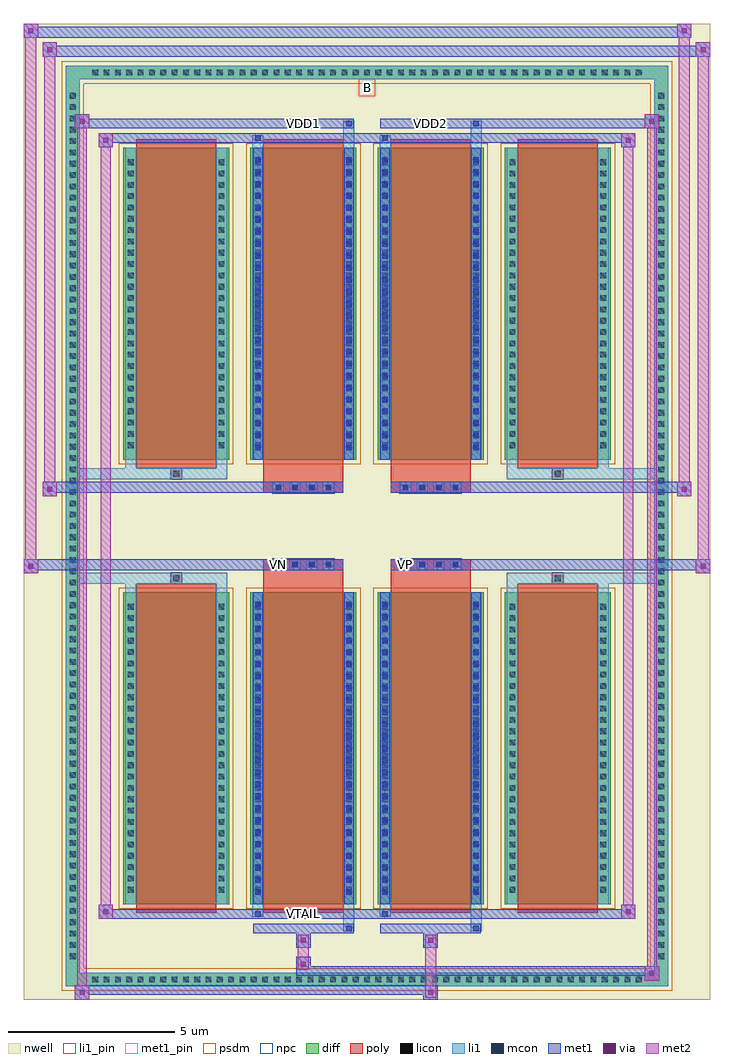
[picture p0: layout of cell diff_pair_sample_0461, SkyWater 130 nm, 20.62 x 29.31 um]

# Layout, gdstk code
import gdstk
lib = gdstk.Library(unit=1e-6, precision=5e-09)
def R(c, l, rs):  # rectangles x0, y0, x1, y1
    for r in rs: c.add(gdstk.rectangle(r[:2], r[2:], *l))
def A(c, l, x, y, w, h, nx, ny, dx, dy):  # array of equal rectangles
    R(c, l, [(x+i*dx, y+j*dy, x+i*dx+w, y+j*dy+h) for i in range(nx) for j in range(ny)])
def P(c, l, *ps):  # polygons
    for p in ps: c.add(gdstk.Polygon(p, *l))
nwell = (64, 20)
diff = (65, 20)
poly = (66, 20)
licon = (66, 44)
li1_pin = (67, 16)
li1 = (67, 20)
mcon = (67, 44)
met1_pin = (68, 16)
met1 = (68, 20)
via = (68, 44)
met2 = (69, 20)
psdm = (94, 20)
npc = (95, 20)

diff_pair_sample_0461 = lib.new_cell('diff_pair_sample_0461')
R(diff_pair_sample_0461, nwell, [(-10.31,-14.22,10.31,15.09), (-7.63,-12.41,-0.01,-0.795), (0.01,-12.41,7.63,-0.795), (-7.63,0.795,-0.01,12.41), (0.01,0.795,7.63,12.41)])
A(diff_pair_sample_0461, diff, -8.365, -13.82, 0.41, 0.41, 49, 2, 0.34, 27.23)
A(diff_pair_sample_0461, diff, -9.04, -13.125, 0.41, 0.41, 1, 77, 0, 0.34)
A(diff_pair_sample_0461, diff, 8.63, -13.125, 0.41, 0.41, 1, 77, 0, 0.34)
A(diff_pair_sample_0461, diff, -7.32, -11.365, 3.18, 9.38, 4, 2, 3.82, 13.35)
R(diff_pair_sample_0461, diff, [(-8.365,-13.82,8.365,-13.41), (-9.04,-13.125,-8.63,13.125), (8.63,-13.125,9.04,13.125), (-8.365,13.41,8.365,13.82)])
P(diff_pair_sample_0461, diff, [(9.04,13.82),(-9.04,13.82),(-9.04,-13.41),(-8.63,-13.41),(-8.63,13.41),(8.63,13.41),(8.63,-13.41),(-8.63,-13.41),(-9.04,-13.41),(-9.04,-13.82),(9.04,-13.82)])
A(diff_pair_sample_0461, poly, -6.93, -11.615, 2.4, 9.88, 4, 2, 3.82, 13.35)
A(diff_pair_sample_0461, poly, -2.825, -1.325, 0.33, 0.33, 4, 2, 0.5, 2.32)
A(diff_pair_sample_0461, poly, 0.995, -1.325, 0.33, 0.33, 4, 2, 0.5, 2.32)
R(diff_pair_sample_0461, poly, [(-5.895,-1.735,-5.565,-1.405), (-5.895,-1.735,-5.565,-1.405), (-3.11,-1.735,-0.71,-1.325), (0.71,-1.735,3.11,-1.325), (5.565,-1.735,5.895,-1.405), (5.565,-1.735,5.895,-1.405), (-3.11,-1.325,-0.71,-0.995), (0.71,-1.325,3.11,-0.995), (-3.11,0.995,-0.71,1.325), (0.71,0.995,3.11,1.325), (-3.11,1.325,-0.71,1.735), (0.71,1.325,3.11,1.735), (-5.895,1.405,-5.565,1.735), (-5.895,1.405,-5.565,1.735), (5.565,1.405,5.895,1.735), (5.565,1.405,5.895,1.735)])
A(diff_pair_sample_0461, licon, -8.245, -13.7, 0.17, 0.17, 49, 2, 0.34, 27.23)
A(diff_pair_sample_0461, licon, -8.92, -13.005, 0.17, 0.17, 1, 77, 0, 0.34)
A(diff_pair_sample_0461, licon, 8.75, -13.005, 0.17, 0.17, 1, 77, 0, 0.34)
A(diff_pair_sample_0461, licon, -7.18, -11.01, 0.17, 0.17, 1, 26, 0, 0.34)
A(diff_pair_sample_0461, licon, -4.45, -11.01, 0.17, 0.17, 1, 26, 0, 0.34)
A(diff_pair_sample_0461, licon, -3.36, -11.01, 0.17, 0.17, 1, 26, 0, 0.34)
A(diff_pair_sample_0461, licon, -0.63, -11.01, 0.17, 0.17, 1, 26, 0, 0.34)
A(diff_pair_sample_0461, licon, 0.46, -11.01, 0.17, 0.17, 1, 26, 0, 0.34)
A(diff_pair_sample_0461, licon, 3.19, -11.01, 0.17, 0.17, 1, 26, 0, 0.34)
A(diff_pair_sample_0461, licon, 4.28, -11.01, 0.17, 0.17, 1, 26, 0, 0.34)
A(diff_pair_sample_0461, licon, 7.01, -11.01, 0.17, 0.17, 1, 26, 0, 0.34)
A(diff_pair_sample_0461, licon, -2.745, -1.245, 0.17, 0.17, 4, 2, 0.5, 2.32)
A(diff_pair_sample_0461, licon, 1.075, -1.245, 0.17, 0.17, 4, 2, 0.5, 2.32)
A(diff_pair_sample_0461, licon, -7.18, 2.34, 0.17, 0.17, 1, 26, 0, 0.34)
A(diff_pair_sample_0461, licon, -4.45, 2.34, 0.17, 0.17, 1, 26, 0, 0.34)
A(diff_pair_sample_0461, licon, -3.36, 2.34, 0.17, 0.17, 1, 26, 0, 0.34)
A(diff_pair_sample_0461, licon, -0.63, 2.34, 0.17, 0.17, 1, 26, 0, 0.34)
A(diff_pair_sample_0461, licon, 0.46, 2.34, 0.17, 0.17, 1, 26, 0, 0.34)
A(diff_pair_sample_0461, licon, 3.19, 2.34, 0.17, 0.17, 1, 26, 0, 0.34)
A(diff_pair_sample_0461, licon, 4.28, 2.34, 0.17, 0.17, 1, 26, 0, 0.34)
A(diff_pair_sample_0461, licon, 7.01, 2.34, 0.17, 0.17, 1, 26, 0, 0.34)
R(diff_pair_sample_0461, licon, [(-5.815,-1.655,-5.645,-1.485), (5.645,-1.655,5.815,-1.485), (-5.815,1.485,-5.645,1.655), (5.645,1.485,5.815,1.655)])
R(diff_pair_sample_0461, li1_pin, [(-0.25,12.91,0.25,13.41)])
A(diff_pair_sample_0461, li1, -8.325, -13.78, 0.33, 0.33, 49, 2, 0.34, 27.23)
A(diff_pair_sample_0461, li1, -9, -13.085, 0.33, 0.33, 1, 77, 0, 0.34)
A(diff_pair_sample_0461, li1, 8.67, -13.085, 0.33, 0.33, 1, 77, 0, 0.34)
A(diff_pair_sample_0461, li1, -7.26, -11.09, 0.33, 0.33, 1, 26, 0, 0.34)
A(diff_pair_sample_0461, li1, -4.53, -11.09, 0.33, 0.33, 1, 26, 0, 0.34)
A(diff_pair_sample_0461, li1, -3.44, -11.09, 0.33, 0.33, 1, 26, 0, 0.34)
A(diff_pair_sample_0461, li1, -0.71, -11.09, 0.33, 0.33, 1, 26, 0, 0.34)
A(diff_pair_sample_0461, li1, 0.38, -11.09, 0.33, 0.33, 1, 26, 0, 0.34)
A(diff_pair_sample_0461, li1, 3.11, -11.09, 0.33, 0.33, 1, 26, 0, 0.34)
A(diff_pair_sample_0461, li1, 4.2, -11.09, 0.33, 0.33, 1, 26, 0, 0.34)
A(diff_pair_sample_0461, li1, 6.93, -11.09, 0.33, 0.33, 1, 26, 0, 0.34)
A(diff_pair_sample_0461, li1, -3.36, -11.08, 0.17, 0.17, 1, 25, 0, 0.36)
A(diff_pair_sample_0461, li1, -0.63, -11.08, 0.17, 0.17, 1, 25, 0, 0.36)
A(diff_pair_sample_0461, li1, 0.46, -11.08, 0.17, 0.17, 1, 25, 0, 0.36)
A(diff_pair_sample_0461, li1, 3.19, -11.08, 0.17, 0.17, 1, 25, 0, 0.36)
A(diff_pair_sample_0461, li1, -2.825, -1.325, 0.33, 0.33, 4, 2, 0.5, 2.32)
A(diff_pair_sample_0461, li1, 0.995, -1.325, 0.33, 0.33, 4, 2, 0.5, 2.32)
A(diff_pair_sample_0461, li1, -7.26, 2.26, 0.33, 0.33, 1, 26, 0, 0.34)
A(diff_pair_sample_0461, li1, -4.53, 2.26, 0.33, 0.33, 1, 26, 0, 0.34)
A(diff_pair_sample_0461, li1, -3.44, 2.26, 0.33, 0.33, 1, 26, 0, 0.34)
A(diff_pair_sample_0461, li1, -0.71, 2.26, 0.33, 0.33, 1, 26, 0, 0.34)
A(diff_pair_sample_0461, li1, 0.38, 2.26, 0.33, 0.33, 1, 26, 0, 0.34)
A(diff_pair_sample_0461, li1, 3.11, 2.26, 0.33, 0.33, 1, 26, 0, 0.34)
A(diff_pair_sample_0461, li1, 4.2, 2.26, 0.33, 0.33, 1, 26, 0, 0.34)
A(diff_pair_sample_0461, li1, 6.93, 2.26, 0.33, 0.33, 1, 26, 0, 0.34)
A(diff_pair_sample_0461, li1, -3.36, 2.27, 0.17, 0.17, 1, 25, 0, 0.36)
A(diff_pair_sample_0461, li1, -0.63, 2.27, 0.17, 0.17, 1, 25, 0, 0.36)
A(diff_pair_sample_0461, li1, 0.46, 2.27, 0.17, 0.17, 1, 25, 0, 0.36)
A(diff_pair_sample_0461, li1, 3.19, 2.27, 0.17, 0.17, 1, 25, 0, 0.36)
R(diff_pair_sample_0461, li1, [(-9.04,-13.82,-8.63,-13.41), (-9.04,-13.82,-8.63,-13.41), (-8.63,-13.82,8.63,-13.41), (8.63,-13.82,9.04,-13.41), (8.63,-13.82,9.04,-13.41), (-9.04,-13.41,-8.63,13.41), (8.63,-13.41,9.04,13.41), (-0.71,-12.17,-0.38,-11.365), (-0.63,-12.17,-0.46,-12), (3.11,-12.17,3.44,-11.365), (3.19,-12.17,3.36,-12), (-3.44,-11.74,-3.11,-11.365), (-3.36,-11.74,-3.19,-11.57), (0.38,-11.74,0.71,-11.365), (0.46,-11.74,0.63,-11.57), (-7.26,-11.365,-6.93,-1.985), (-4.53,-11.365,-4.2,-1.985), (-3.44,-11.365,-3.11,-1.985), (-0.71,-11.365,-0.38,-1.985), (0.38,-11.365,0.71,-1.985), (3.11,-11.365,3.44,-1.985), (4.2,-11.365,4.53,-1.985), (6.93,-11.365,7.26,-1.985), (-3.36,-11.08,-3.19,-2.27), (-0.63,-11.08,-0.46,-2.27), (0.46,-11.08,0.63,-2.27), (3.19,-11.08,3.36,-2.27), (-7.26,-1.985,-6.93,-1.405), (-4.53,-1.985,-4.2,-1.405), (4.2,-1.985,4.53,-1.405), (6.93,-1.985,7.26,-1.405), (-9.04,-1.735,-5.895,-1.405), (-7.26,-1.735,-5.895,-1.405), (-5.895,-1.735,-5.565,-1.405), (-5.565,-1.735,-4.2,-1.405), (4.2,-1.735,5.565,-1.405), (5.565,-1.735,5.895,-1.405), (5.565,-1.735,9.04,-1.405), (5.895,-1.735,7.26,-1.405), (-9.04,1.405,-5.895,1.735), (-7.26,1.405,-5.895,1.735), (-7.26,1.405,-6.93,1.985), (-5.895,1.405,-5.565,1.735), (-5.565,1.405,-4.2,1.735), (-4.53,1.405,-4.2,1.985), (4.2,1.405,5.565,1.735), (4.2,1.405,4.53,1.985), (5.565,1.405,5.895,1.735), (5.565,1.405,9.04,1.735), (5.895,1.405,7.26,1.735), (6.93,1.405,7.26,1.985), (-7.26,1.985,-6.93,11.365), (-4.53,1.985,-4.2,11.365), (-3.44,1.985,-3.11,11.365), (-0.71,1.985,-0.38,11.365), (0.38,1.985,0.71,11.365), (3.11,1.985,3.44,11.365), (4.2,1.985,4.53,11.365), (6.93,1.985,7.26,11.365), (-3.36,2.27,-3.19,11.08), (-0.63,2.27,-0.46,11.08), (0.46,2.27,0.63,11.08), (3.19,2.27,3.36,11.08), (-3.44,11.365,-3.11,11.74), (-0.71,11.365,-0.38,12.17), (0.38,11.365,0.71,11.74), (3.11,11.365,3.44,12.17), (-3.36,11.57,-3.19,11.74), (0.46,11.57,0.63,11.74), (-0.63,12,-0.46,12.17), (3.19,12,3.36,12.17), (-9.04,13.41,-8.63,13.82), (-9.04,13.41,-8.63,13.82), (-8.63,13.41,8.63,13.82), (8.63,13.41,9.04,13.82), (8.63,13.41,9.04,13.82)])
A(diff_pair_sample_0461, mcon, -3.36, -11.08, 0.17, 0.17, 1, 25, 0, 0.36)
A(diff_pair_sample_0461, mcon, -0.63, -11.08, 0.17, 0.17, 1, 25, 0, 0.36)
A(diff_pair_sample_0461, mcon, 0.46, -11.08, 0.17, 0.17, 1, 25, 0, 0.36)
A(diff_pair_sample_0461, mcon, 3.19, -11.08, 0.17, 0.17, 1, 25, 0, 0.36)
A(diff_pair_sample_0461, mcon, -2.745, -1.245, 0.17, 0.17, 4, 2, 0.5, 2.32)
A(diff_pair_sample_0461, mcon, 1.075, -1.245, 0.17, 0.17, 4, 2, 0.5, 2.32)
A(diff_pair_sample_0461, mcon, -3.36, 2.27, 0.17, 0.17, 1, 25, 0, 0.36)
A(diff_pair_sample_0461, mcon, -0.63, 2.27, 0.17, 0.17, 1, 25, 0, 0.36)
A(diff_pair_sample_0461, mcon, 0.46, 2.27, 0.17, 0.17, 1, 25, 0, 0.36)
A(diff_pair_sample_0461, mcon, 3.19, 2.27, 0.17, 0.17, 1, 25, 0, 0.36)
R(diff_pair_sample_0461, mcon, [(-0.63,-12.17,-0.46,-12), (3.19,-12.17,3.36,-12), (-3.36,-11.74,-3.19,-11.57), (0.46,-11.74,0.63,-11.57), (-3.36,11.57,-3.19,11.74), (0.46,11.57,0.63,11.74), (-0.63,12,-0.46,12.17), (3.19,12,3.36,12.17)])
R(diff_pair_sample_0461, met1_pin, [(-2.045,-11.78,-1.775,-11.51), (-2.795,-1.285,-2.525,-1.015), (1.025,-1.285,1.295,-1.015), (-2.045,11.96,-1.775,12.23), (1.775,11.96,2.045,12.23)])
A(diff_pair_sample_0461, met1, -3.42, -11.14, 0.29, 0.29, 1, 25, 0, 0.36)
A(diff_pair_sample_0461, met1, -0.69, -11.14, 0.29, 0.29, 1, 25, 0, 0.36)
A(diff_pair_sample_0461, met1, 0.4, -11.14, 0.29, 0.29, 1, 25, 0, 0.36)
A(diff_pair_sample_0461, met1, 3.13, -11.14, 0.29, 0.29, 1, 25, 0, 0.36)
A(diff_pair_sample_0461, met1, -2.805, -1.305, 0.29, 0.29, 4, 2, 0.5, 2.32)
A(diff_pair_sample_0461, met1, 1.015, -1.305, 0.29, 0.29, 4, 2, 0.5, 2.32)
A(diff_pair_sample_0461, met1, -3.42, 2.21, 0.29, 0.29, 1, 25, 0, 0.36)
A(diff_pair_sample_0461, met1, -0.69, 2.21, 0.29, 0.29, 1, 25, 0, 0.36)
A(diff_pair_sample_0461, met1, 0.4, 2.21, 0.29, 0.29, 1, 25, 0, 0.36)
A(diff_pair_sample_0461, met1, 3.13, 2.21, 0.29, 0.29, 1, 25, 0, 0.36)
R(diff_pair_sample_0461, met1, [(-8.77,-14.22,-8.34,-13.79), (1.695,-14.22,2.125,-13.79), (-8.77,-14.08,2.125,-13.79), (8.34,-13.65,8.77,-13.22), (-2.125,-13.51,8.77,-13.22), (-2.125,-13.37,-1.695,-12.94), (-2.125,-12.66,-1.695,-12.23), (1.695,-12.66,2.125,-12.23), (-3.42,-12.23,-0.4,-11.94), (-0.69,-12.23,-0.4,-11.94), (0.4,-12.23,3.42,-11.94), (3.13,-12.23,3.42,-11.94), (-8.06,-11.8,-7.63,-11.37), (-8.06,-11.8,-3.42,-11.51), (-3.42,-11.8,-3.13,-11.51), (-3.42,-11.8,-0.4,-11.51), (-0.4,-11.8,0.4,-11.51), (0.4,-11.8,0.69,-11.51), (0.4,-11.8,3.42,-11.51), (3.42,-11.8,8.06,-11.51), (7.63,-11.8,8.06,-11.37), (-3.42,-11.365,-3.13,-1.985), (-0.69,-11.365,-0.4,-1.985), (0.4,-11.365,0.69,-1.985), (3.13,-11.365,3.42,-1.985), (-10.31,-1.425,-9.88,-0.995), (9.88,-1.425,10.31,-0.995), (-10.31,-1.325,-0.71,-0.995), (-3.11,-1.325,-0.71,-0.995), (0.71,-1.325,3.11,-0.995), (0.71,-1.325,10.31,-0.995), (-9.74,0.895,-9.31,1.325), (9.31,0.895,9.74,1.325), (-9.74,0.995,-3.11,1.325), (-3.11,0.995,-0.71,1.325), (0.71,0.995,3.11,1.325), (3.11,0.995,9.74,1.325), (-3.42,1.985,-3.13,11.365), (-0.69,1.985,-0.4,11.365), (0.4,1.985,0.69,11.365), (3.13,1.985,3.42,11.365), (-8.06,11.37,-7.63,11.8), (7.63,11.37,8.06,11.8), (-8.06,11.51,-3.42,11.8), (-3.42,11.51,-3.13,11.8), (-3.42,11.51,-0.4,11.8), (-0.4,11.51,0.4,11.8), (0.4,11.51,0.69,11.8), (0.4,11.51,3.42,11.8), (3.42,11.51,8.06,11.8), (-8.77,11.94,-8.34,12.37), (-8.77,11.94,-3.42,12.23), (-3.42,11.94,-0.4,12.23), (-0.69,11.94,-0.4,12.23), (0.4,11.94,3.42,12.23), (3.13,11.94,3.42,12.23), (3.42,11.94,8.77,12.23), (8.34,11.94,8.77,12.37), (-9.74,14.09,-9.31,14.52), (-9.74,14.09,-7.63,14.42), (-7.63,14.09,7.63,14.42), (7.63,14.09,10.31,14.42), (9.88,14.09,10.31,14.52), (-10.31,14.66,-9.88,15.09), (-10.31,14.66,-7.63,14.99), (-7.63,14.66,7.63,14.99), (7.63,14.66,9.74,14.99), (9.31,14.66,9.74,15.09)])
R(diff_pair_sample_0461, via, [(-8.63,-14.08,-8.48,-13.93), (1.835,-14.08,1.985,-13.93), (8.48,-13.51,8.63,-13.36), (-1.985,-13.23,-1.835,-13.08), (-1.985,-12.52,-1.835,-12.37), (1.835,-12.52,1.985,-12.37), (-7.92,-11.66,-7.77,-11.51), (7.77,-11.66,7.92,-11.51), (-10.17,-1.285,-10.02,-1.135), (10.02,-1.285,10.17,-1.135), (-9.6,1.035,-9.45,1.185), (9.45,1.035,9.6,1.185), (-7.92,11.51,-7.77,11.66), (7.77,11.51,7.92,11.66), (-8.63,12.08,-8.48,12.23), (8.48,12.08,8.63,12.23), (-9.6,14.23,-9.45,14.38), (10.02,14.23,10.17,14.38), (-10.17,14.8,-10.02,14.95), (9.45,14.8,9.6,14.95)])
R(diff_pair_sample_0461, met2, [(-8.77,-14.22,-8.34,-13.79), (-8.7,-14.22,-8.41,12.37), (-8.41,-14.22,-8.34,-13.79), (-8.72,-14.17,-8.39,-13.84), (1.745,-14.17,2.075,-13.84), (1.745,-13.84,2.075,-12.61), (8.34,-13.65,8.77,-13.22), (8.41,-13.65,8.7,12.37), (8.7,-13.65,8.77,-13.22), (8.39,-13.6,8.72,-13.27), (-2.075,-13.32,-1.745,-12.99), (-2.075,-12.99,-1.745,-12.61), (-2.075,-12.61,-1.745,-12.28), (1.745,-12.61,2.075,-12.28), (-8.06,-11.8,-7.63,-11.37), (-7.99,-11.8,-7.7,11.8), (-7.7,-11.8,-7.63,-11.37), (7.63,-11.8,8.06,-11.37), (7.7,-11.8,7.99,11.8), (7.99,-11.8,8.06,-11.37), (-8.01,-11.75,-7.68,-11.42), (7.68,-11.75,8.01,-11.42), (-10.31,-1.425,-9.88,-0.995), (-10.26,-1.425,-9.93,15.09), (-9.93,-1.425,-9.88,-0.995), (9.88,-1.425,10.31,-0.995), (9.93,-1.425,10.26,14.52), (10.26,-1.425,10.31,-0.995), (-10.26,-1.375,-9.93,-1.045), (9.93,-1.375,10.26,-1.045), (-9.74,0.895,-9.31,1.325), (-9.69,0.895,-9.36,14.52), (-9.36,0.895,-9.31,1.325), (9.31,0.895,9.74,1.325), (9.36,0.895,9.69,15.09), (9.69,0.895,9.74,1.325), (-9.69,0.945,-9.36,1.275), (9.36,0.945,9.69,1.275), (-8.06,11.37,-7.63,11.8), (-7.7,11.37,-7.63,11.8), (7.63,11.37,8.06,11.8), (7.99,11.37,8.06,11.8), (-8.01,11.42,-7.68,11.75), (7.68,11.42,8.01,11.75), (-8.77,11.94,-8.34,12.37), (-8.41,11.94,-8.34,12.37), (8.34,11.94,8.77,12.37), (8.7,11.94,8.77,12.37), (-8.72,11.99,-8.39,12.32), (8.39,11.99,8.72,12.32), (-9.74,14.09,-9.31,14.52), (-9.36,14.09,-9.31,14.52), (9.88,14.09,10.31,14.52), (10.26,14.09,10.31,14.52), (-9.69,14.14,-9.36,14.47), (9.93,14.14,10.26,14.47), (-10.31,14.66,-9.88,15.09), (-9.93,14.66,-9.88,15.09), (9.31,14.66,9.74,15.09), (9.69,14.66,9.74,15.09), (-10.26,14.71,-9.93,15.04), (9.36,14.71,9.69,15.04)])
A(diff_pair_sample_0461, psdm, -7.45, -11.495, 3.44, 9.64, 4, 2, 3.82, 13.35)
P(diff_pair_sample_0461, psdm, [(9.17,13.95),(-9.17,13.95),(-9.17,-13.28),(-8.5,-13.28),(-8.5,13.28),(8.5,13.28),(8.5,-13.28),(-8.5,-13.28),(-9.17,-13.28),(-9.17,-13.95),(9.17,-13.95)])
A(diff_pair_sample_0461, npc, -2.845, -1.345, 0.37, 0.37, 4, 2, 0.5, 2.32)
A(diff_pair_sample_0461, npc, 0.975, -1.345, 0.37, 0.37, 4, 2, 0.5, 2.32)
R(diff_pair_sample_0461, npc, [(-5.915,-1.755,-5.545,-1.385), (5.545,-1.755,5.915,-1.385), (-2.845,-1.345,-1.975,-0.975), (-2.845,-1.345,-1.975,-0.975), (-2.345,-1.345,-1.475,-0.975), (-2.345,-1.345,-1.475,-0.975), (-1.845,-1.345,-0.975,-0.975), (-1.845,-1.345,-0.975,-0.975), (0.975,-1.345,1.845,-0.975), (0.975,-1.345,1.845,-0.975), (1.475,-1.345,2.345,-0.975), (1.475,-1.345,2.345,-0.975), (1.975,-1.345,2.845,-0.975), (1.975,-1.345,2.845,-0.975), (-2.845,0.975,-1.975,1.345), (-2.845,0.975,-1.975,1.345), (-2.345,0.975,-1.475,1.345), (-2.345,0.975,-1.475,1.345), (-1.845,0.975,-0.975,1.345), (-1.845,0.975,-0.975,1.345), (0.975,0.975,1.845,1.345), (0.975,0.975,1.845,1.345), (1.475,0.975,2.345,1.345), (1.475,0.975,2.345,1.345), (1.975,0.975,2.845,1.345), (1.975,0.975,2.845,1.345), (-5.915,1.385,-5.545,1.755), (5.545,1.385,5.915,1.755)])
diff_pair_sample_0461.add(gdstk.Label('VTAIL', (-1.91,-11.645), layer=68, texttype=5))
diff_pair_sample_0461.add(gdstk.Label('VN', (-2.66,-1.15), layer=68, texttype=5))
diff_pair_sample_0461.add(gdstk.Label('VP', (1.16,-1.15), layer=68, texttype=5))
diff_pair_sample_0461.add(gdstk.Label('B', (0,13.16), layer=67, texttype=5))
diff_pair_sample_0461.add(gdstk.Label('VDD2', (1.91,12.095), layer=68, texttype=5))
diff_pair_sample_0461.add(gdstk.Label('VDD1', (-1.91,12.095), layer=68, texttype=5))

lib.write_gds('diff_pair_sample_0461.gds')
